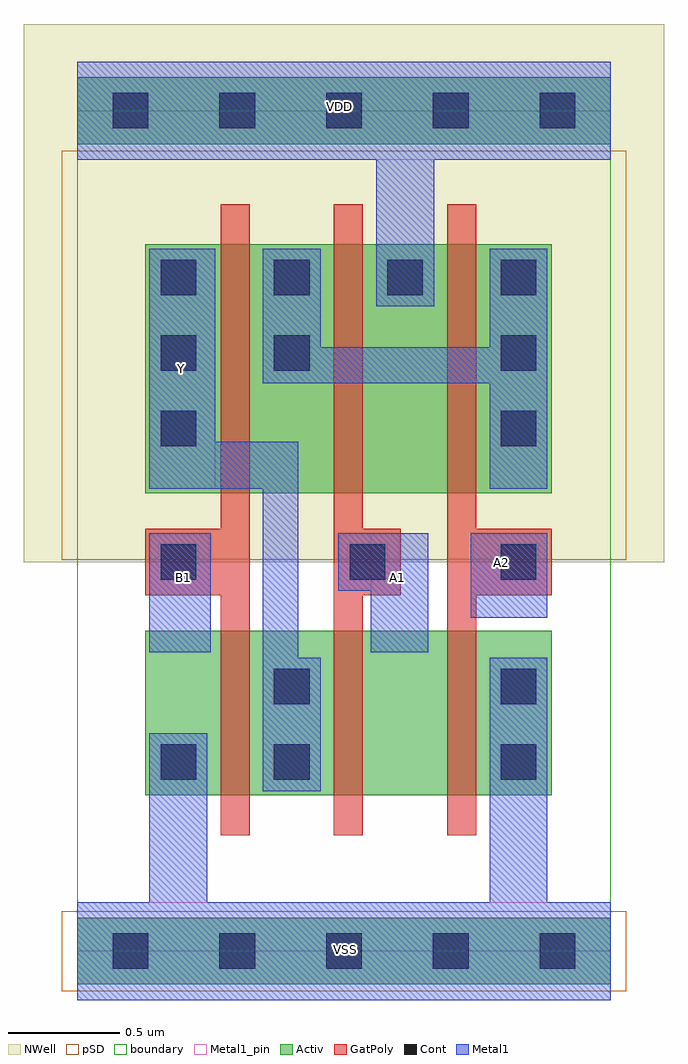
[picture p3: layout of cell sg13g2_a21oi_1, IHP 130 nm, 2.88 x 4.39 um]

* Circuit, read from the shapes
.subckt sg13g2_a21oi_1 A1 A2 B1 VDD VSS Y
XM1 Y B1 VSS VSS sg13_lv_nmos w=0.74u l=0.13u
XM2 n1 A1 Y VSS sg13_lv_nmos w=0.74u l=0.13u
XM3 VSS A2 n1 VSS sg13_lv_nmos w=0.74u l=0.13u
XM4 n2 B1 Y VDD sg13_lv_pmos w=1.12u l=0.13u
XM5 VDD A1 n2 VDD sg13_lv_pmos w=1.12u l=0.13u
XM6 n2 A2 VDD VDD sg13_lv_pmos w=1.12u l=0.13u
.ends

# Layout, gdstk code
import gdstk
lib = gdstk.Library(unit=1e-6, precision=1e-09)
def R(c, l, rs):  # rectangles x0, y0, x1, y1
    for r in rs: c.add(gdstk.rectangle(r[:2], r[2:], *l))
def P(c, l, *ps):  # polygons
    for p in ps: c.add(gdstk.Polygon(p, *l))
Activ = (1, 0)
GatPoly = (5, 0)
Cont = (6, 0)
Metal1 = (8, 0)
Metal1_pin = (8, 2)
pSD = (14, 0)
NWell = (31, 0)
boundary = (189, 4)

sg13g2_a21oi_1 = lib.new_cell('sg13g2_a21oi_1')
R(sg13g2_a21oi_1, Activ, [(0,-0.15,2.4,0.15), (0,-0.15,2.4,0.15), (0.305,0.7,2.135,1.44), (0.305,0.7,2.135,1.44), (0.305,2.06,2.135,3.18), (0.305,2.06,2.135,3.18), (0,3.63,2.4,3.93), (0,3.63,2.4,3.93)])
P(sg13g2_a21oi_1, GatPoly, [(1.665,0.52),(1.665,3.36),(1.795,3.36),(1.795,1.9),(2.135,1.9),(2.135,1.6),(1.795,1.6),(1.795,0.52)],
  [(1.155,0.52),(1.155,3.36),(1.285,3.36),(1.285,1.9),(1.455,1.9),(1.455,1.6),(1.285,1.6),(1.285,0.52)],
  [(0.645,0.52),(0.645,1.6),(0.305,1.6),(0.305,1.9),(0.645,1.9),(0.645,3.36),(0.775,3.36),(0.775,0.52)],
  [(1.665,0.52),(1.665,3.36),(1.795,3.36),(1.795,1.9),(2.135,1.9),(2.135,1.6),(1.795,1.6),(1.795,0.52)],
  [(1.155,0.52),(1.155,3.36),(1.285,3.36),(1.285,1.9),(1.455,1.9),(1.455,1.6),(1.285,1.6),(1.285,0.52)],
  [(0.645,0.52),(0.645,1.6),(0.305,1.6),(0.305,1.9),(0.645,1.9),(0.645,3.36),(0.775,3.36),(0.775,0.52)])
R(sg13g2_a21oi_1, Cont, [(0.16,-0.08,0.32,0.08), (0.16,-0.08,0.32,0.08), (0.64,-0.08,0.8,0.08), (0.64,-0.08,0.8,0.08), (1.12,-0.08,1.28,0.08), (1.12,-0.08,1.28,0.08), (1.6,-0.08,1.76,0.08), (1.6,-0.08,1.76,0.08), (2.08,-0.08,2.24,0.08), (2.08,-0.08,2.24,0.08), (0.375,0.77,0.535,0.93), (0.375,0.77,0.535,0.93), (0.885,0.77,1.045,0.93), (0.885,0.77,1.045,0.93), (1.905,0.77,2.065,0.93), (1.905,0.77,2.065,0.93), (0.885,1.11,1.045,1.27), (0.885,1.11,1.045,1.27), (1.905,1.11,2.065,1.27), (1.905,1.11,2.065,1.27), (0.375,1.67,0.535,1.83), (0.375,1.67,0.535,1.83), (1.225,1.67,1.385,1.83), (1.225,1.67,1.385,1.83), (1.905,1.67,2.065,1.83), (1.905,1.67,2.065,1.83), (0.375,2.27,0.535,2.43), (0.375,2.27,0.535,2.43), (1.905,2.27,2.065,2.43), (1.905,2.27,2.065,2.43), (0.375,2.61,0.535,2.77), (0.375,2.61,0.535,2.77), (0.885,2.61,1.045,2.77), (0.885,2.61,1.045,2.77), (1.905,2.61,2.065,2.77), (1.905,2.61,2.065,2.77), (0.375,2.95,0.535,3.11), (0.375,2.95,0.535,3.11), (0.885,2.95,1.045,3.11), (0.885,2.95,1.045,3.11), (1.395,2.95,1.555,3.11), (1.395,2.95,1.555,3.11), (1.905,2.95,2.065,3.11), (1.905,2.95,2.065,3.11), (0.16,3.7,0.32,3.86), (0.16,3.7,0.32,3.86), (0.64,3.7,0.8,3.86), (0.64,3.7,0.8,3.86), (1.12,3.7,1.28,3.86), (1.12,3.7,1.28,3.86), (1.6,3.7,1.76,3.86), (1.6,3.7,1.76,3.86), (2.08,3.7,2.24,3.86), (2.08,3.7,2.24,3.86)])
R(sg13g2_a21oi_1, Metal1, [(0.325,1.345,0.6,1.88), (0.325,1.345,0.6,1.88), (1.77,1.5,2.115,1.88), (1.77,1.5,2.115,1.88)])
P(sg13g2_a21oi_1, Metal1, [(1.345,2.9),(1.345,3.56),(0,3.56),(0,4),(2.4,4),(2.4,3.56),(1.605,3.56),(1.605,2.9)],
  [(1.855,2.08),(1.855,2.555),(0.835,2.555),(0.835,3.16),(1.095,3.16),(1.095,2.715),(1.855,2.715),(1.855,3.16),(2.115,3.16),(2.115,2.08)],
  [(1.32,1.345),(1.32,1.62),(1.175,1.62),(1.175,1.88),(1.58,1.88),(1.58,1.345)],
  [(0,-0.22),(0,0.22),(0.325,0.22),(0.325,0.98),(0.585,0.98),(0.585,0.22),(1.855,0.22),(1.855,1.32),(2.115,1.32),(2.115,0.22),(2.4,0.22),(2.4,-0.22)],
  [(0.835,0.72),(0.835,2.08),(0.325,2.08),(0.325,3.16),(0.62,3.16),(0.62,2.29),(0.995,2.29),(0.995,1.32),(1.095,1.32),(1.095,0.72)],
  [(1.345,2.9),(1.345,3.56),(0,3.56),(0,4),(2.4,4),(2.4,3.56),(1.605,3.56),(1.605,2.9)],
  [(1.855,2.08),(1.855,2.555),(0.835,2.555),(0.835,3.16),(1.095,3.16),(1.095,2.715),(1.855,2.715),(1.855,3.16),(2.115,3.16),(2.115,2.08)],
  [(1.32,1.345),(1.32,1.62),(1.175,1.62),(1.175,1.88),(1.58,1.88),(1.58,1.345)],
  [(0,-0.22),(0,0.22),(0.325,0.22),(0.325,0.98),(0.585,0.98),(0.585,0.22),(1.855,0.22),(1.855,1.32),(2.115,1.32),(2.115,0.22),(2.4,0.22),(2.4,-0.22)],
  [(0.835,0.72),(0.835,2.08),(0.325,2.08),(0.325,3.16),(0.62,3.16),(0.62,2.29),(0.995,2.29),(0.995,1.32),(1.095,1.32),(1.095,0.72)])
R(sg13g2_a21oi_1, Metal1_pin, [(0,-0.22,2.4,0.22), (0,-0.22,2.4,0.22), (0.325,1.345,0.6,1.88), (0.325,1.345,0.6,1.88), (1.32,1.345,1.58,1.88), (1.32,1.345,1.58,1.88), (1.77,1.5,2.115,1.88), (1.77,1.5,2.115,1.88), (0.325,2.08,0.62,3.16), (0.325,2.08,0.62,3.16), (0,3.56,2.4,4), (0,3.56,2.4,4)])
R(sg13g2_a21oi_1, pSD, [(-0.07,-0.18,2.47,0.18), (-0.07,-0.18,2.47,0.18), (-0.07,1.76,2.47,3.6), (-0.07,1.76,2.47,3.6)])
R(sg13g2_a21oi_1, NWell, [(-0.24,1.75,2.64,4.17), (-0.24,1.75,2.64,4.17)])
R(sg13g2_a21oi_1, boundary, [(0,0,2.4,3.78), (0,0,2.4,3.78)])
sg13g2_a21oi_1.add(gdstk.Label('VDD', (1.18,3.8), layer=8, texttype=25))
sg13g2_a21oi_1.add(gdstk.Label('VSS', (1.205,0.005), layer=8, texttype=25))
sg13g2_a21oi_1.add(gdstk.Label('A2', (1.91,1.75), layer=8, texttype=25))
sg13g2_a21oi_1.add(gdstk.Label('A1', (1.44,1.68), layer=8, texttype=25))
sg13g2_a21oi_1.add(gdstk.Label('B1', (0.48,1.682), layer=8, texttype=25))
sg13g2_a21oi_1.add(gdstk.Label('Y', (0.47,2.62), layer=8, texttype=25))
sg13g2_a21oi_1.add(gdstk.Label('VDD', (1.18,3.8), layer=8, texttype=25))
sg13g2_a21oi_1.add(gdstk.Label('VSS', (1.205,0.005), layer=8, texttype=25))
sg13g2_a21oi_1.add(gdstk.Label('A2', (1.91,1.75), layer=8, texttype=25))
sg13g2_a21oi_1.add(gdstk.Label('A1', (1.44,1.68), layer=8, texttype=25))
sg13g2_a21oi_1.add(gdstk.Label('B1', (0.48,1.682), layer=8, texttype=25))
sg13g2_a21oi_1.add(gdstk.Label('Y', (0.47,2.62), layer=8, texttype=25))

lib.write_gds('sg13g2_a21oi_1.gds')
